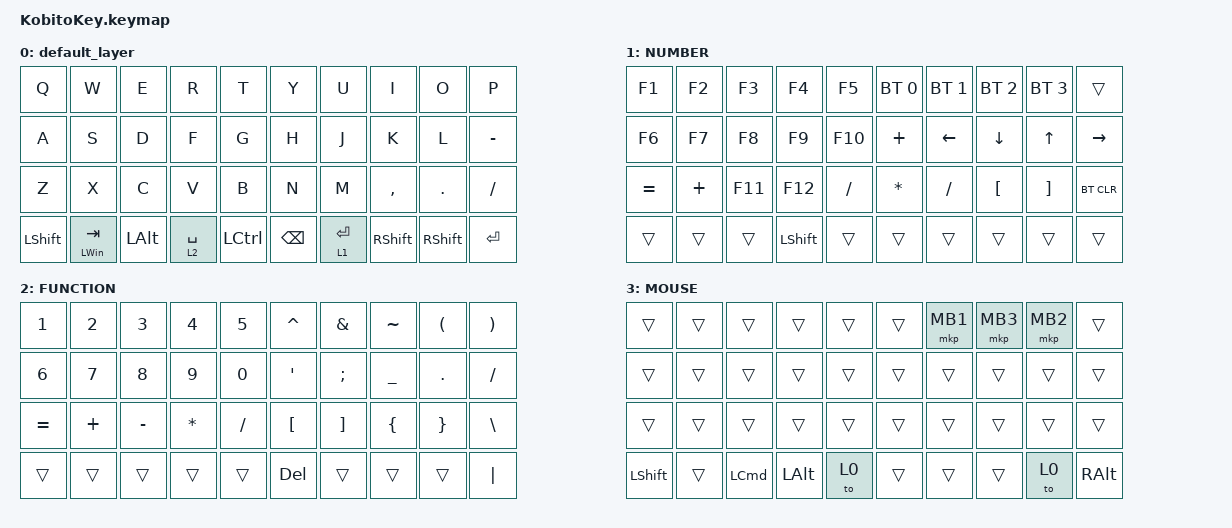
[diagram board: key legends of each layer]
#include <input/processors.dtsi>
#include <behaviors.dtsi>
#include <dt-bindings/zmk/bt.h>
#include <dt-bindings/zmk/keys.h>
#include <dt-bindings/zmk/pointing.h>

/ {
    combos {
        compatible = "zmk,combos";

        combo_eisu {
            timeout-ms = <50>;
            key-positions = <8 7>;
            bindings = <&kp LANG2>;
        };

        combo_kana {
            timeout-ms = <50>;
            key-positions = <6 7>;
            bindings = <&kp LANG1>;
        };

        combo_esc {
            timeout-ms = <50>;
            key-positions = <0 1>;
            bindings = <&kp ESC>;
        };

        combo_tab {
            timeout-ms = <50>;
            key-positions = <10 11>;
            bindings = <&kp TAB>;
        };
    };

    keymap {
        compatible = "zmk,keymap";

        default_layer {
            bindings = <
&kp Q      &kp W             &kp E         &kp R        &kp T      &kp Y     &kp U        &kp I      &kp O      &kp P
&kp A      &kp S             &kp D         &kp F        &kp G      &kp H     &kp J        &kp K      &kp L      &kp MINUS
&kp Z      &kp X             &kp C         &kp V        &kp B      &kp N     &kp M        &kp COMMA  &kp DOT    &kp SLASH
&kp LSHFT  &mt LEFT_WIN TAB  &kp LEFT_ALT  &lt 2 SPACE  &kp LCTRL  &kp BSPC  &lt 1 ENTER  &kp RSHFT  &kp RSHFT  &kp ENTER
            >;
        };

        layer1 {
            label = "NUMBER";
            bindings = <
&kp F1     &kp F2    &kp F3   &kp F4     &kp F5     &bt BT_SEL 0  &bt BT_SEL 1  &bt BT_SEL 2  &bt BT_SEL 3  &trans
&kp F6     &kp F7    &kp F8   &kp F9     &kp F10    &kp PLUS      &kp LEFT      &kp DOWN      &kp UP_ARROW  &kp RIGHT
&kp EQUAL  &kp PLUS  &kp F11  &kp F12    &kp SLASH  &kp ASTRK     &kp SLASH     &kp LBKT      &kp RBKT      &bt BT_CLR
&trans     &trans    &trans   &kp LSHFT  &trans     &trans        &trans        &trans        &trans        &trans
            >;
        };

        layer2 {
            label = "FUNCTION";
            bindings = <
&kp NUMBER_1  &kp NUMBER_2  &kp NUMBER_3  &kp NUMBER_4  &kp NUMBER_5  &kp CARET         &kp AMPERSAND      &kp TILDE       &kp LEFT_PARENTHESIS  &kp RIGHT_PARENTHESIS
&kp NUMBER_6  &kp NUMBER_7  &kp NUMBER_8  &kp NUMBER_9  &kp NUMBER_0  &kp SQT           &kp SEMICOLON      &kp UNDERSCORE  &kp PERIOD            &kp SLASH
&kp EQUAL     &kp PLUS      &kp MINUS     &kp ASTRK     &kp SLASH     &kp LEFT_BRACKET  &kp RIGHT_BRACKET  &kp LEFT_BRACE  &kp RIGHT_BRACE       &kp BACKSLASH
&trans        &trans        &trans        &trans        &trans        &kp DEL           &trans             &trans          &trans                &kp PIPE
            >;
        };

        layer3 {
            label = "MOUSE";
            bindings = <
&trans     &trans  &trans    &trans    &trans  &trans  &mkp MB1  &mkp MB3  &mkp MB2  &trans
&trans     &trans  &trans    &trans    &trans  &trans  &trans    &trans    &trans    &trans
&trans     &trans  &trans    &trans    &trans  &trans  &trans    &trans    &trans    &trans
&kp LSHFT  &trans  &kp LCMD  &kp LALT  &to 0   &trans  &trans    &trans    &to 0     &kp RALT
            >;
        };
    };
};
